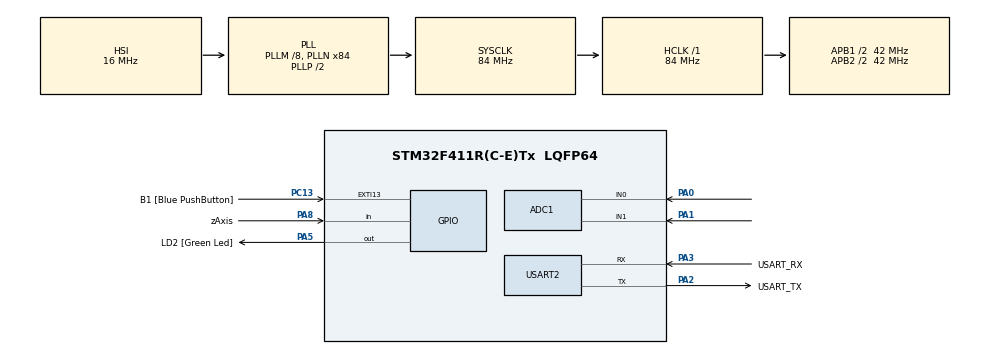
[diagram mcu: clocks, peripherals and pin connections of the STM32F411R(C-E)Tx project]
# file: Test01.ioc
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ADC1.Channel-0\#ChannelRegularConversion=ADC_CHANNEL_0
ADC1.Channel-1\#ChannelRegularConversion=ADC_CHANNEL_1
ADC1.DMAContinuousRequests=ENABLE
ADC1.DiscontinuousConvMode=ENABLE
ADC1.EOCSelection=ADC_EOC_SEQ_CONV
ADC1.ExternalTrigConv=ADC_EXTERNALTRIGCONV_T3_TRGO
ADC1.NbrOfConversion=2
ADC1.NbrOfConversionFlag=1
ADC1.Rank-0\#ChannelRegularConversion=1
ADC1.Rank-1\#ChannelRegularConversion=2
ADC1.SamplingTime-0\#ChannelRegularConversion=ADC_SAMPLETIME_3CYCLES
ADC1.SamplingTime-1\#ChannelRegularConversion=ADC_SAMPLETIME_3CYCLES
ADC1.ScanConvMode=ENABLE
ADC1.master=1
Dma.ADC1.0.Direction=DMA_PERIPH_TO_MEMORY
Dma.ADC1.0.FIFOMode=DMA_FIFOMODE_DISABLE
Dma.ADC1.0.Instance=DMA2_Stream0
Dma.ADC1.0.MemDataAlignment=DMA_MDATAALIGN_HALFWORD
Dma.ADC1.0.MemInc=DMA_MINC_ENABLE
Dma.ADC1.0.Mode=DMA_CIRCULAR
Dma.ADC1.0.PeriphDataAlignment=DMA_PDATAALIGN_HALFWORD
Dma.ADC1.0.PeriphInc=DMA_PINC_DISABLE
Dma.ADC1.0.Priority=DMA_PRIORITY_LOW
Dma.Request0=ADC1
Mcu.Family=STM32F4
Mcu.Name=STM32F411R(C-E)Tx
Mcu.Package=LQFP64
NVIC.DMA2_Stream0_IRQn=true\:0\:0\:false\:false\:true\:false\:true\:true
NVIC.PriorityGroup=NVIC_PRIORITYGROUP_0
PA0-WKUP.Signal=ADCx_IN0
PA1.Signal=ADCx_IN1
PA13.GPIO_Label=TMS
PA13.Mode=Serial_Wire
PA13.Signal=SYS_JTMS-SWDIO
PA14.GPIO_Label=TCK
PA14.Mode=Serial_Wire
PA14.Signal=SYS_JTCK-SWCLK
PA2.GPIO_Label=USART_TX
PA2.Mode=Asynchronous
PA2.Signal=USART2_TX
PA3.GPIO_Label=USART_RX
PA3.Mode=Asynchronous
PA3.Signal=USART2_RX
PA5.GPIO_Label=LD2 [Green Led]
PA5.Signal=GPIO_Output
PA8.GPIO_Label=zAxis
PA8.GPIO_PuPd=GPIO_PULLUP
PA8.Signal=GPIO_Input
PB3.GPIO_Label=SWO
PB3.Signal=SYS_JTDO-SWO
PC13-ANTI_TAMP.GPIO_Label=B1 [Blue PushButton]
PC13-ANTI_TAMP.GPIO_ModeDefaultEXTI=GPIO_MODE_IT_FALLING
PC13-ANTI_TAMP.Signal=GPXTI13
PC14-OSC32_IN.Mode=LSE-External-Oscillator
PC14-OSC32_IN.Signal=RCC_OSC32_IN
PC15-OSC32_OUT.Mode=LSE-External-Oscillator
PC15-OSC32_OUT.Signal=RCC_OSC32_OUT
PH0\ -\ OSC_IN.Mode=HSE-External-Clock-Source
PH0\ -\ OSC_IN.Signal=RCC_OSC_IN
PH1\ -\ OSC_OUT.Mode=HSE-External-Clock-Source
PH1\ -\ OSC_OUT.Signal=RCC_OSC_OUT
ProjectManager.HeapSize=0x200
ProjectManager.StackSize=0x400
ProjectManager.TargetToolchain=STM32CubeIDE
RCC.48MHZClocksFreq_Value=42000000
RCC.AHBFreq_Value=84000000
RCC.APB1CLKDivider=RCC_HCLK_DIV2
RCC.APB1Freq_Value=42000000
RCC.APB1TimFreq_Value=84000000
RCC.APB2CLKDivider=RCC_HCLK_DIV2
RCC.APB2Freq_Value=42000000
RCC.APB2TimFreq_Value=84000000
RCC.CortexFreq_Value=84000000
RCC.FLatency-AdvancedSettings=FLASH_LATENCY_2
RCC.HCLKFreq_Value=84000000
RCC.HSE_VALUE=8000000
RCC.HSI_VALUE=16000000
RCC.PLLM=8
RCC.PLLN=84
RCC.SYSCLKFreq_VALUE=84000000
RCC.SYSCLKSource=RCC_SYSCLKSOURCE_PLLCLK
RCC.VCOOutputFreq_Value=168000000
SH.ADCx_IN0.0=ADC1_IN0,IN0
SH.ADCx_IN1.0=ADC1_IN1,IN1
TIM3.Period=5000-1
TIM3.Prescaler=8400-1
TIM3.TIM_MasterOutputTrigger=TIM_TRGO_UPDATE
TIM4.Period=10000-1
TIM4.Prescaler=8400-1
USART2.VirtualMode=VM_ASYNC
VP_TIM3_VS_ClockSourceINT.Mode=Internal
VP_TIM4_VS_ClockSourceINT.Mode=Internal
board=NUCLEO-F411RE

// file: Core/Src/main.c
/* USER CODE BEGIN Header */
/**
  ******************************************************************************
  * @file           : main.c
  * @brief          : Main program body
  ******************************************************************************
  * @attention
  *
  * Copyright (c) 2023 STMicroelectronics.
  * All rights reserved.
  *
  * This software is licensed under terms that can be found in the LICENSE file
  * in the root directory of this software component.
  * If no LICENSE file comes with this software, it is provided AS-IS.
  *
  ******************************************************************************
  */
/* USER CODE END Header */
#include "main.h"

ADC_HandleTypeDef hadc1;
DMA_HandleTypeDef hdma_adc1;

TIM_HandleTypeDef htim3;
TIM_HandleTypeDef htim4;

UART_HandleTypeDef huart2;

void SystemClock_Config(void);
static void MX_GPIO_Init(void);
static void MX_DMA_Init(void);
static void MX_USART2_UART_Init(void);
static void MX_ADC1_Init(void);
static void MX_TIM3_Init(void);
static void MX_TIM4_Init(void);
/* USER CODE BEGIN PFP */
int __io_putchar(int ch)
{
	HAL_UART_Transmit(&huart2, &ch, 1, 10);
	return ch;
}
//int __io_getchar(void)

short int buf[100];  // uint16_t
int xVal, yVal, zVal;
void JoyStickValue(int op)  // SW conversion method
{
  HAL_ADC_Start(&hadc1);
  xVal = HAL_ADC_GetValue(&hadc1);

  HAL_ADC_Start(&hadc1);
  yVal = HAL_ADC_GetValue(&hadc1);

  zVal = HAL_GPIO_ReadPin(zAxis_GPIO_Port, zAxis_Pin);

  if(op) printf("xVal:%d    yVal:%d    zVal:%d\r\n",xVal, yVal, zVal);
}
int count = 0;
void HAL_ADC_ConvCpltCallback(ADC_HandleTypeDef* hadc) // Conversion complete, 1 time
{
	if(count == 0) xVal = HAL_ADC_GetValue(&hadc1);
	else if(count == 1)
	{
		yVal = HAL_ADC_GetValue(&hadc1);
	}
	if(++count > 1) count = 0;
	HAL_ADC_Start_IT(&hadc1);
}

/* USER CODE END PFP */

int main(void)
{
  /* USER CODE BEGIN 1 */
  printf("Hello!..........................#1\r\n");

  /* USER CODE END 1 */

  /* MCU Configuration--------------------------------------------------------*/

  /* Reset of all peripherals, Initializes the Flash interface and the Systick. */
  HAL_Init();

  /* Configure the system clock */
  SystemClock_Config();

  /* Initialize all configured peripherals */
  MX_GPIO_Init();
  MX_DMA_Init();
  MX_USART2_UART_Init();
  MX_ADC1_Init();
  MX_TIM3_Init();
  MX_TIM4_Init();
  /* USER CODE BEGIN 2 */
  //HAL_ADC_Start_IT(&hadc1);
  printf("Hello!..............................#2\r\n");

  HAL_TIM_Base_Start(&htim3);  // Trigger start (not interrupt)
  HAL_ADC_Start_DMA(&hadc1, buf, 2);

  /* USER CODE END 2 */

  /* Infinite loop */
  while (1)
  {

    /* USER CODE BEGIN 3 */
	//  printf("Hello!......#2\r\n");
	//  JoyStickValue(1);
	zVal = HAL_GPIO_ReadPin(zAxis_GPIO_Port, zAxis_Pin);
    //printf("xVal:%d    yVal:%d    zVal:%d\r\n",xVal, yVal, zVal);
    printf("xVal:%d    yVal:%d    zVal:%d\r\n", buf[0], buf[1], zVal);

	HAL_Delay(200);
  }
  /* USER CODE END 3 */
}

void SystemClock_Config(void)
{
  RCC_OscInitTypeDef RCC_OscInitStruct = {0};
  RCC_ClkInitTypeDef RCC_ClkInitStruct = {0};

  /** Configure the main internal regulator output voltage
  */
  __HAL_RCC_PWR_CLK_ENABLE();
  __HAL_PWR_VOLTAGESCALING_CONFIG(PWR_REGULATOR_VOLTAGE_SCALE1);

  /** Initializes the RCC Oscillators according to the specified parameters
  * in the RCC_OscInitTypeDef structure.
  */
  RCC_OscInitStruct.OscillatorType = RCC_OSCILLATORTYPE_HSI;
  RCC_OscInitStruct.HSIState = RCC_HSI_ON;
  RCC_OscInitStruct.HSICalibrationValue = RCC_HSICALIBRATION_DEFAULT;
  RCC_OscInitStruct.PLL.PLLState = RCC_PLL_ON;
  RCC_OscInitStruct.PLL.PLLSource = RCC_PLLSOURCE_HSI;
  RCC_OscInitStruct.PLL.PLLM = 8;
  RCC_OscInitStruct.PLL.PLLN = 84;
  RCC_OscInitStruct.PLL.PLLP = RCC_PLLP_DIV2;
  RCC_OscInitStruct.PLL.PLLQ = 4;
  if (HAL_RCC_OscConfig(&RCC_OscInitStruct) != HAL_OK)
  {
    Error_Handler();
  }

  /** Initializes the CPU, AHB and APB buses clocks
  */
  RCC_ClkInitStruct.ClockType = RCC_CLOCKTYPE_HCLK|RCC_CLOCKTYPE_SYSCLK
                              |RCC_CLOCKTYPE_PCLK1|RCC_CLOCKTYPE_PCLK2;
  RCC_ClkInitStruct.SYSCLKSource = RCC_SYSCLKSOURCE_PLLCLK;
  RCC_ClkInitStruct.AHBCLKDivider = RCC_SYSCLK_DIV1;
  RCC_ClkInitStruct.APB1CLKDivider = RCC_HCLK_DIV2;
  RCC_ClkInitStruct.APB2CLKDivider = RCC_HCLK_DIV2;

  if (HAL_RCC_ClockConfig(&RCC_ClkInitStruct, FLASH_LATENCY_2) != HAL_OK)
  {
    Error_Handler();
  }
}

static void MX_ADC1_Init(void)
{

  ADC_ChannelConfTypeDef sConfig = {0};

  /** Configure the global features of the ADC (Clock, Resolution, Data Alignment and number of conversion)
  */
  hadc1.Instance = ADC1;
  hadc1.Init.ClockPrescaler = ADC_CLOCK_SYNC_PCLK_DIV2;
  hadc1.Init.Resolution = ADC_RESOLUTION_12B;
  hadc1.Init.ScanConvMode = ENABLE;
  hadc1.Init.ContinuousConvMode = DISABLE;
  hadc1.Init.DiscontinuousConvMode = ENABLE;
  hadc1.Init.NbrOfDiscConversion = 1;
  hadc1.Init.ExternalTrigConvEdge = ADC_EXTERNALTRIGCONVEDGE_RISING;
  hadc1.Init.ExternalTrigConv = ADC_EXTERNALTRIGCONV_T3_TRGO;
  hadc1.Init.DataAlign = ADC_DATAALIGN_RIGHT;
  hadc1.Init.NbrOfConversion = 2;
  hadc1.Init.DMAContinuousRequests = ENABLE;
  hadc1.Init.EOCSelection = ADC_EOC_SEQ_CONV;
  if (HAL_ADC_Init(&hadc1) != HAL_OK)
  {
    Error_Handler();
  }

  /** Configure for the selected ADC regular channel its corresponding rank in the sequencer and its sample time.
  */
  sConfig.Channel = ADC_CHANNEL_0;
  sConfig.Rank = 1;
  sConfig.SamplingTime = ADC_SAMPLETIME_3CYCLES;
  if (HAL_ADC_ConfigChannel(&hadc1, &sConfig) != HAL_OK)
  {
    Error_Handler();
  }

  /** Configure for the selected ADC regular channel its corresponding rank in the sequencer and its sample time.
  */
  sConfig.Channel = ADC_CHANNEL_1;
  sConfig.Rank = 2;
  if (HAL_ADC_ConfigChannel(&hadc1, &sConfig) != HAL_OK)
  {
    Error_Handler();
  }

}

static void MX_TIM3_Init(void)
{

  TIM_ClockConfigTypeDef sClockSourceConfig = {0};
  TIM_MasterConfigTypeDef sMasterConfig = {0};

  htim3.Instance = TIM3;
  htim3.Init.Prescaler = 8400-1;
  htim3.Init.CounterMode = TIM_COUNTERMODE_UP;
  htim3.Init.Period = 5000-1;
  htim3.Init.ClockDivision = TIM_CLOCKDIVISION_DIV1;
  htim3.Init.AutoReloadPreload = TIM_AUTORELOAD_PRELOAD_DISABLE;
  if (HAL_TIM_Base_Init(&htim3) != HAL_OK)
  {
    Error_Handler();
  }
  sClockSourceConfig.ClockSource = TIM_CLOCKSOURCE_INTERNAL;
  if (HAL_TIM_ConfigClockSource(&htim3, &sClockSourceConfig) != HAL_OK)
  {
    Error_Handler();
  }
  sMasterConfig.MasterOutputTrigger = TIM_TRGO_UPDATE;
  sMasterConfig.MasterSlaveMode = TIM_MASTERSLAVEMODE_DISABLE;
  if (HAL_TIMEx_MasterConfigSynchronization(&htim3, &sMasterConfig) != HAL_OK)
  {
    Error_Handler();
  }

}

static void MX_TIM4_Init(void)
{

  TIM_ClockConfigTypeDef sClockSourceConfig = {0};
  TIM_MasterConfigTypeDef sMasterConfig = {0};

  htim4.Instance = TIM4;
  htim4.Init.Prescaler = 8400-1;
  htim4.Init.CounterMode = TIM_COUNTERMODE_UP;
  htim4.Init.Period = 10000-1;
  htim4.Init.ClockDivision = TIM_CLOCKDIVISION_DIV1;
  htim4.Init.AutoReloadPreload = TIM_AUTORELOAD_PRELOAD_DISABLE;
  if (HAL_TIM_Base_Init(&htim4) != HAL_OK)
  {
    Error_Handler();
  }
  sClockSourceConfig.ClockSource = TIM_CLOCKSOURCE_INTERNAL;
  if (HAL_TIM_ConfigClockSource(&htim4, &sClockSourceConfig) != HAL_OK)
  {
    Error_Handler();
  }
  sMasterConfig.MasterOutputTrigger = TIM_TRGO_RESET;
  sMasterConfig.MasterSlaveMode = TIM_MASTERSLAVEMODE_DISABLE;
  if (HAL_TIMEx_MasterConfigSynchronization(&htim4, &sMasterConfig) != HAL_OK)
  {
    Error_Handler();
  }

}

static void MX_USART2_UART_Init(void)
{

  huart2.Instance = USART2;
  huart2.Init.BaudRate = 115200;
  huart2.Init.WordLength = UART_WORDLENGTH_8B;
  huart2.Init.StopBits = UART_STOPBITS_1;
  huart2.Init.Parity = UART_PARITY_NONE;
  huart2.Init.Mode = UART_MODE_TX_RX;
  huart2.Init.HwFlowCtl = UART_HWCONTROL_NONE;
  huart2.Init.OverSampling = UART_OVERSAMPLING_16;
  if (HAL_UART_Init(&huart2) != HAL_OK)
  {
    Error_Handler();
  }

}

static void MX_DMA_Init(void)
{

  /* DMA controller clock enable */
  __HAL_RCC_DMA2_CLK_ENABLE();

  /* DMA interrupt init */
  /* DMA2_Stream0_IRQn interrupt configuration */
  HAL_NVIC_SetPriority(DMA2_Stream0_IRQn, 0, 0);
  HAL_NVIC_EnableIRQ(DMA2_Stream0_IRQn);

}

static void MX_GPIO_Init(void)
{
  GPIO_InitTypeDef GPIO_InitStruct = {0};

  /* GPIO Ports Clock Enable */
  __HAL_RCC_GPIOC_CLK_ENABLE();
  __HAL_RCC_GPIOH_CLK_ENABLE();
  __HAL_RCC_GPIOA_CLK_ENABLE();
  __HAL_RCC_GPIOB_CLK_ENABLE();

  /*Configure GPIO pin Output Level */
  HAL_GPIO_WritePin(LD2_GPIO_Port, LD2_Pin, GPIO_PIN_RESET);

  /*Configure GPIO pin : B1_Pin */
  GPIO_InitStruct.Pin = B1_Pin;
  GPIO_InitStruct.Mode = GPIO_MODE_IT_FALLING;
  GPIO_InitStruct.Pull = GPIO_NOPULL;
  HAL_GPIO_Init(B1_GPIO_Port, &GPIO_InitStruct);

  /*Configure GPIO pin : LD2_Pin */
  GPIO_InitStruct.Pin = LD2_Pin;
  GPIO_InitStruct.Mode = GPIO_MODE_OUTPUT_PP;
  GPIO_InitStruct.Pull = GPIO_NOPULL;
  GPIO_InitStruct.Speed = GPIO_SPEED_FREQ_LOW;
  HAL_GPIO_Init(LD2_GPIO_Port, &GPIO_InitStruct);

  /*Configure GPIO pin : zAxis_Pin */
  GPIO_InitStruct.Pin = zAxis_Pin;
  GPIO_InitStruct.Mode = GPIO_MODE_INPUT;
  GPIO_InitStruct.Pull = GPIO_PULLUP;
  HAL_GPIO_Init(zAxis_GPIO_Port, &GPIO_InitStruct);

}

void Error_Handler(void)
{
  __disable_irq();
  while (1)
  {
  }
}
